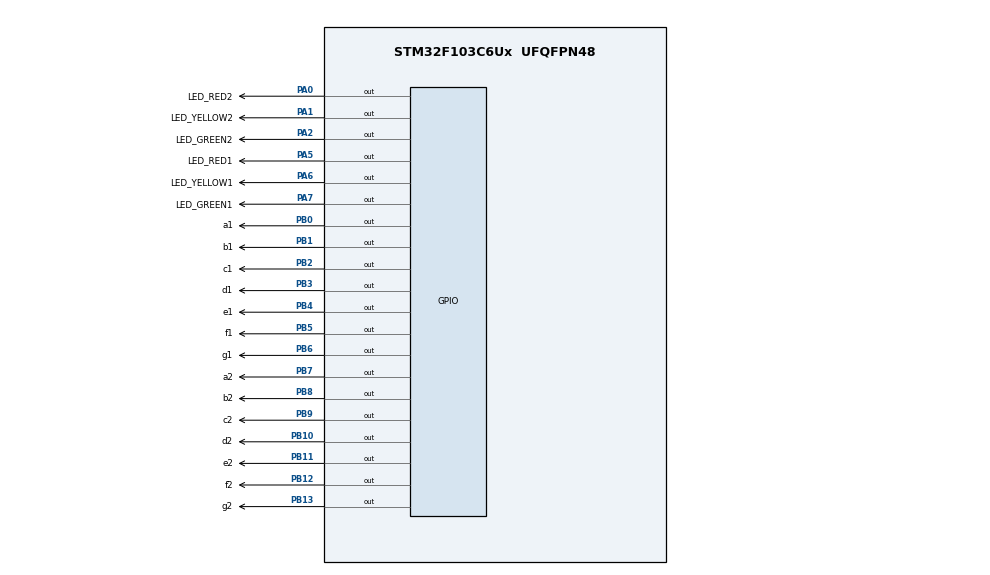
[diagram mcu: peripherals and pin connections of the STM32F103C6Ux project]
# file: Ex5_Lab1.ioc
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Mcu.Family=STM32F1
Mcu.Name=STM32F103C6Ux
Mcu.Package=UFQFPN48
NVIC.PriorityGroup=NVIC_PRIORITYGROUP_4
PA0-WKUP.GPIO_Label=LED_RED2
PA0-WKUP.Signal=GPIO_Output
PA1.GPIO_Label=LED_YELLOW2
PA1.Signal=GPIO_Output
PA2.GPIO_Label=LED_GREEN2
PA2.Signal=GPIO_Output
PA5.GPIO_Label=LED_RED1
PA5.GPIO_ModeDefaultOutputPP=GPIO_MODE_OUTPUT_PP
PA5.GPIO_PuPd=GPIO_PULLUP
PA5.Signal=GPIO_Output
PA6.GPIO_Label=LED_YELLOW1
PA6.GPIO_PuPd=GPIO_PULLUP
PA6.Signal=GPIO_Output
PA7.GPIO_Label=LED_GREEN1
PA7.GPIO_PuPd=GPIO_PULLUP
PA7.Signal=GPIO_Output
PB0.GPIO_Label=a1
PB0.Signal=GPIO_Output
PB1.GPIO_Label=b1
PB1.Signal=GPIO_Output
PB10.GPIO_Label=d2
PB10.Signal=GPIO_Output
PB11.GPIO_Label=e2
PB11.Signal=GPIO_Output
PB12.GPIO_Label=f2
PB12.Signal=GPIO_Output
PB13.GPIO_Label=g2
PB13.Signal=GPIO_Output
PB2.GPIO_Label=c1
PB2.Signal=GPIO_Output
PB3.GPIO_Label=d1
PB3.Signal=GPIO_Output
PB4.GPIO_Label=e1
PB4.Signal=GPIO_Output
PB5.GPIO_Label=f1
PB5.Signal=GPIO_Output
PB6.GPIO_Label=g1
PB6.Signal=GPIO_Output
PB7.GPIO_Label=a2
PB7.Signal=GPIO_Output
PB8.GPIO_Label=b2
PB8.Signal=GPIO_Output
PB9.GPIO_Label=c2
PB9.Signal=GPIO_Output
ProjectManager.HeapSize=0x200
ProjectManager.StackSize=0x400
ProjectManager.TargetToolchain=STM32CubeIDE
RCC.APB1Freq_Value=8000000
RCC.APB2Freq_Value=8000000
board=custom

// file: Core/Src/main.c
/* USER CODE BEGIN Header */
/**
  ******************************************************************************
  * @file           : main.c
  * @brief          : Main program body
  ******************************************************************************
  * @attention
  *
  * Copyright (c) 2022 STMicroelectronics.
  * All rights reserved.
  *
  * This software is licensed under terms that can be found in the LICENSE file
  * in the root directory of this software component.
  * If no LICENSE file comes with this software, it is provided AS-IS.
  *
  ******************************************************************************
  */
/* USER CODE END Header */
#include "main.h"

void SystemClock_Config(void);
static void MX_GPIO_Init(void);
/* USER CODE BEGIN PFP */
void display7SEG(GPIO_TypeDef**GPIO_Port,uint16_t*GPIO_Pin,int num){
	if(num==0){
		HAL_GPIO_WritePin(GPIO_Port[0],GPIO_Pin[0],0);
		HAL_GPIO_WritePin(GPIO_Port[1],GPIO_Pin[1],0);
		HAL_GPIO_WritePin(GPIO_Port[2],GPIO_Pin[2],0);
		HAL_GPIO_WritePin(GPIO_Port[3],GPIO_Pin[3],0);
		HAL_GPIO_WritePin(GPIO_Port[4],GPIO_Pin[4],0);
		HAL_GPIO_WritePin(GPIO_Port[5],GPIO_Pin[5],0);
		HAL_GPIO_WritePin(GPIO_Port[6],GPIO_Pin[6],1);
	}
	if(num==1){
		HAL_GPIO_WritePin(GPIO_Port[0],GPIO_Pin[0],1);
		HAL_GPIO_WritePin(GPIO_Port[1],GPIO_Pin[1],0);
		HAL_GPIO_WritePin(GPIO_Port[2],GPIO_Pin[2],0);
		HAL_GPIO_WritePin(GPIO_Port[3],GPIO_Pin[3],1);
		HAL_GPIO_WritePin(GPIO_Port[4],GPIO_Pin[4],1);
		HAL_GPIO_WritePin(GPIO_Port[5],GPIO_Pin[5],1);
		HAL_GPIO_WritePin(GPIO_Port[6],GPIO_Pin[6],1);
	}
	if(num==2){
		HAL_GPIO_WritePin(GPIO_Port[0],GPIO_Pin[0],0);
		HAL_GPIO_WritePin(GPIO_Port[1],GPIO_Pin[1],0);
		HAL_GPIO_WritePin(GPIO_Port[2],GPIO_Pin[2],1);
		HAL_GPIO_WritePin(GPIO_Port[3],GPIO_Pin[3],0);
		HAL_GPIO_WritePin(GPIO_Port[4],GPIO_Pin[4],0);
		HAL_GPIO_WritePin(GPIO_Port[5],GPIO_Pin[5],1);
		HAL_GPIO_WritePin(GPIO_Port[6],GPIO_Pin[6],0);
	}
	if(num==3){
		HAL_GPIO_WritePin(GPIO_Port[0],GPIO_Pin[0],0);
		HAL_GPIO_WritePin(GPIO_Port[1],GPIO_Pin[1],0);
		HAL_GPIO_WritePin(GPIO_Port[2],GPIO_Pin[2],0);
		HAL_GPIO_WritePin(GPIO_Port[3],GPIO_Pin[3],0);
		HAL_GPIO_WritePin(GPIO_Port[4],GPIO_Pin[4],1);
		HAL_GPIO_WritePin(GPIO_Port[5],GPIO_Pin[5],1);
		HAL_GPIO_WritePin(GPIO_Port[6],GPIO_Pin[6],0);
	}
	if(num==4){
		HAL_GPIO_WritePin(GPIO_Port[0],GPIO_Pin[0],1);
		HAL_GPIO_WritePin(GPIO_Port[1],GPIO_Pin[1],0);
		HAL_GPIO_WritePin(GPIO_Port[2],GPIO_Pin[2],0);
		HAL_GPIO_WritePin(GPIO_Port[3],GPIO_Pin[3],1);
		HAL_GPIO_WritePin(GPIO_Port[4],GPIO_Pin[4],1);
		HAL_GPIO_WritePin(GPIO_Port[5],GPIO_Pin[5],0);
		HAL_GPIO_WritePin(GPIO_Port[6],GPIO_Pin[6],0);
	}
	if(num==5){
		HAL_GPIO_WritePin(GPIO_Port[0],GPIO_Pin[0],0);
		HAL_GPIO_WritePin(GPIO_Port[1],GPIO_Pin[1],1);
		HAL_GPIO_WritePin(GPIO_Port[2],GPIO_Pin[2],0);
		HAL_GPIO_WritePin(GPIO_Port[3],GPIO_Pin[3],0);
		HAL_GPIO_WritePin(GPIO_Port[4],GPIO_Pin[4],1);
		HAL_GPIO_WritePin(GPIO_Port[5],GPIO_Pin[5],0);
		HAL_GPIO_WritePin(GPIO_Port[6],GPIO_Pin[6],0);
	}
	if(num==6){
		HAL_GPIO_WritePin(GPIO_Port[0],GPIO_Pin[0],0);
		HAL_GPIO_WritePin(GPIO_Port[1],GPIO_Pin[1],1);
		HAL_GPIO_WritePin(GPIO_Port[2],GPIO_Pin[2],0);
		HAL_GPIO_WritePin(GPIO_Port[3],GPIO_Pin[3],0);
		HAL_GPIO_WritePin(GPIO_Port[4],GPIO_Pin[4],0);
		HAL_GPIO_WritePin(GPIO_Port[5],GPIO_Pin[5],0);
		HAL_GPIO_WritePin(GPIO_Port[6],GPIO_Pin[6],0);
	}
	if(num==7){
		HAL_GPIO_WritePin(GPIO_Port[0],GPIO_Pin[0],0);
		HAL_GPIO_WritePin(GPIO_Port[1],GPIO_Pin[1],0);
		HAL_GPIO_WritePin(GPIO_Port[2],GPIO_Pin[2],0);
		HAL_GPIO_WritePin(GPIO_Port[3],GPIO_Pin[3],1);
		HAL_GPIO_WritePin(GPIO_Port[4],GPIO_Pin[4],1);
		HAL_GPIO_WritePin(GPIO_Port[5],GPIO_Pin[5],1);
		HAL_GPIO_WritePin(GPIO_Port[6],GPIO_Pin[6],1);
	}
	if(num==8){
		HAL_GPIO_WritePin(GPIO_Port[0],GPIO_Pin[0],0);
		HAL_GPIO_WritePin(GPIO_Port[1],GPIO_Pin[1],0);
		HAL_GPIO_WritePin(GPIO_Port[2],GPIO_Pin[2],0);
		HAL_GPIO_WritePin(GPIO_Port[3],GPIO_Pin[3],0);
		HAL_GPIO_WritePin(GPIO_Port[4],GPIO_Pin[4],0);
		HAL_GPIO_WritePin(GPIO_Port[5],GPIO_Pin[5],0);
		HAL_GPIO_WritePin(GPIO_Port[6],GPIO_Pin[6],0);
	}
	if(num==9){
		HAL_GPIO_WritePin(GPIO_Port[0],GPIO_Pin[0],0);
		HAL_GPIO_WritePin(GPIO_Port[1],GPIO_Pin[1],0);
		HAL_GPIO_WritePin(GPIO_Port[2],GPIO_Pin[2],0);
		HAL_GPIO_WritePin(GPIO_Port[3],GPIO_Pin[3],0);
		HAL_GPIO_WritePin(GPIO_Port[4],GPIO_Pin[4],1);
		HAL_GPIO_WritePin(GPIO_Port[5],GPIO_Pin[5],0);
		HAL_GPIO_WritePin(GPIO_Port[6],GPIO_Pin[6],0);
	}
}

void display_way(GPIO_TypeDef**GPIO_Port_Led, uint16_t*GPIO_Pin_Led,
		GPIO_TypeDef**GPIO_Port_LED7SEG, uint16_t*GPIO_Pin_LED7SEG,
		int*cnt_led_max,int*cnt_led, int*state, int max_state, int active, int inactive ){
	if(*state==0){
		HAL_GPIO_WritePin(GPIO_Port_Led[max_state], GPIO_Pin_Led[max_state], inactive);
		HAL_GPIO_WritePin(GPIO_Port_Led[*state], GPIO_Pin_Led[*state], active);
	}else{
		HAL_GPIO_WritePin(GPIO_Port_Led[(*state)-1], GPIO_Pin_Led[(*state)-1], inactive);
		HAL_GPIO_WritePin(GPIO_Port_Led[*state], GPIO_Pin_Led[*state], active);
	}
	display7SEG(GPIO_Port_LED7SEG, GPIO_Pin_LED7SEG, cnt_led[*state]);
	cnt_led[*state]--;
	if(cnt_led[*state]<=0){
		cnt_led[*state]=cnt_led_max[*state];
		if((*state)==max_state){
			*state=0;
		}else{
			(*state)++;
		}
	}
}
/* USER CODE END PFP */

int main(void)
{

  /* MCU Configuration--------------------------------------------------------*/

  /* Reset of all peripherals, Initializes the Flash interface and the Systick. */
  HAL_Init();

  /* Configure the system clock */
  SystemClock_Config();

  /* Initialize all configured peripherals */
  MX_GPIO_Init();
  /* USER CODE BEGIN 2 */
  	int cnt_red_max=5;  //state 0
	int cnt_yellow_max=2;  //state 1
	int cnt_green_max=3; //state 2
	int cnt_led_max[]={cnt_red_max,cnt_yellow_max,cnt_green_max};

	/* WAY1 PORT PACKAGE */
	int cnt_red1=cnt_red_max;
	int cnt_yellow1=cnt_yellow_max;
	int cnt_green1=cnt_green_max;
	int cnt_led1[]={cnt_red1, cnt_yellow1, cnt_green1};
	int cur_state1=0;

	GPIO_TypeDef*GPIO_Port_Led_Way1[]={LED_RED1_GPIO_Port, LED_YELLOW1_GPIO_Port,
			LED_GREEN1_GPIO_Port};
	uint16_t GPIO_Pin_Led_Way1[]={LED_RED1_Pin, LED_YELLOW1_Pin, LED_GREEN1_Pin};

	GPIO_TypeDef*GPIO_Port_LED7SEG1[]={a1_GPIO_Port, b1_GPIO_Port, c1_GPIO_Port, d1_GPIO_Port,
			  e1_GPIO_Port, f1_GPIO_Port, g1_GPIO_Port};
	uint16_t GPIO_Pin_LED7SEG1[]={a1_Pin, b1_Pin, c1_Pin, d1_Pin, e1_Pin, f1_Pin, g1_Pin};
	/* END WAY1 PROT PACKAGE */

	/* WAY2 PORT PACKAGE */
	int cnt_red2=cnt_red_max;
	int cnt_yellow2=cnt_yellow_max;
	int cnt_green2=cnt_green_max;
	int cnt_led2[]={cnt_red2, cnt_yellow2, cnt_green2};
	int cur_state2=1;

	GPIO_TypeDef*GPIO_Port_Led_Way2[]={LED_RED2_GPIO_Port, LED_YELLOW2_GPIO_Port,
				LED_GREEN2_GPIO_Port};
	uint16_t GPIO_Pin_Led_Way2[]={LED_RED2_Pin, LED_YELLOW2_Pin, LED_GREEN2_Pin};

	GPIO_TypeDef*GPIO_Port_LED7SEG2[]={a2_GPIO_Port,b2_GPIO_Port,c2_GPIO_Port,d2_GPIO_Port,
			  e2_GPIO_Port, f2_GPIO_Port,g2_GPIO_Port};
	uint16_t GPIO_Pin_LED7SEG2[]={a2_Pin, b2_Pin, c2_Pin, d2_Pin, e2_Pin, f2_Pin, g2_Pin};
	/* END WAY2 PROT PACKAGE */

	for(int i=0;i<3;i++){
		HAL_GPIO_WritePin(GPIO_Port_Led_Way1[i], GPIO_Pin_Led_Way1[i], 0);
		HAL_GPIO_WritePin(GPIO_Port_Led_Way2[i], GPIO_Pin_Led_Way2[i], 0);
	}

  /* USER CODE END 2 */

  /* Infinite loop */
  /* USER CODE BEGIN WHILE */
  while (1)
  {
	  /* WAY1 START */
	  display_way(GPIO_Port_Led_Way1, GPIO_Pin_Led_Way1,
			  GPIO_Port_LED7SEG1, GPIO_Pin_LED7SEG1,
			  cnt_led_max, cnt_led1,&cur_state1 ,2,1,0);
	  display_way(GPIO_Port_Led_Way2, GPIO_Pin_Led_Way2,
	  			  GPIO_Port_LED7SEG2, GPIO_Pin_LED7SEG2,
				  cnt_led_max, cnt_led2,&cur_state2 ,2,1,0);
	  /* WAY1 END */

	  /* WAY2 START */

	  /* WAY2 END */
	  HAL_Delay(1000);
    /* USER CODE END WHILE */

  }
}

void SystemClock_Config(void)
{
  RCC_OscInitTypeDef RCC_OscInitStruct = {0};
  RCC_ClkInitTypeDef RCC_ClkInitStruct = {0};

  /** Initializes the RCC Oscillators according to the specified parameters
  * in the RCC_OscInitTypeDef structure.
  */
  RCC_OscInitStruct.OscillatorType = RCC_OSCILLATORTYPE_HSI;
  RCC_OscInitStruct.HSIState = RCC_HSI_ON;
  RCC_OscInitStruct.HSICalibrationValue = RCC_HSICALIBRATION_DEFAULT;
  RCC_OscInitStruct.PLL.PLLState = RCC_PLL_NONE;
  if (HAL_RCC_OscConfig(&RCC_OscInitStruct) != HAL_OK)
  {
    Error_Handler();
  }

  /** Initializes the CPU, AHB and APB buses clocks
  */
  RCC_ClkInitStruct.ClockType = RCC_CLOCKTYPE_HCLK|RCC_CLOCKTYPE_SYSCLK
                              |RCC_CLOCKTYPE_PCLK1|RCC_CLOCKTYPE_PCLK2;
  RCC_ClkInitStruct.SYSCLKSource = RCC_SYSCLKSOURCE_HSI;
  RCC_ClkInitStruct.AHBCLKDivider = RCC_SYSCLK_DIV1;
  RCC_ClkInitStruct.APB1CLKDivider = RCC_HCLK_DIV1;
  RCC_ClkInitStruct.APB2CLKDivider = RCC_HCLK_DIV1;

  if (HAL_RCC_ClockConfig(&RCC_ClkInitStruct, FLASH_LATENCY_0) != HAL_OK)
  {
    Error_Handler();
  }
}

static void MX_GPIO_Init(void)
{
  GPIO_InitTypeDef GPIO_InitStruct = {0};

  /* GPIO Ports Clock Enable */
  __HAL_RCC_GPIOA_CLK_ENABLE();
  __HAL_RCC_GPIOB_CLK_ENABLE();

  /*Configure GPIO pin Output Level */
  HAL_GPIO_WritePin(GPIOA, LED_RED2_Pin|LED_YELLOW2_Pin|LED_GREEN2_Pin|LED_RED1_Pin
                          |LED_YELLOW1_Pin|LED_GREEN1_Pin, GPIO_PIN_RESET);

  /*Configure GPIO pin Output Level */
  HAL_GPIO_WritePin(GPIOB, a1_Pin|b1_Pin|c1_Pin|d2_Pin
                          |e2_Pin|f2_Pin|g2_Pin|d1_Pin
                          |e1_Pin|f1_Pin|g1_Pin|a2_Pin
                          |b2_Pin|c2_Pin, GPIO_PIN_RESET);

  /*Configure GPIO pins : LED_RED2_Pin LED_YELLOW2_Pin LED_GREEN2_Pin */
  GPIO_InitStruct.Pin = LED_RED2_Pin|LED_YELLOW2_Pin|LED_GREEN2_Pin;
  GPIO_InitStruct.Mode = GPIO_MODE_OUTPUT_PP;
  GPIO_InitStruct.Pull = GPIO_NOPULL;
  GPIO_InitStruct.Speed = GPIO_SPEED_FREQ_LOW;
  HAL_GPIO_Init(GPIOA, &GPIO_InitStruct);

  /*Configure GPIO pins : LED_RED1_Pin LED_YELLOW1_Pin LED_GREEN1_Pin */
  GPIO_InitStruct.Pin = LED_RED1_Pin|LED_YELLOW1_Pin|LED_GREEN1_Pin;
  GPIO_InitStruct.Mode = GPIO_MODE_OUTPUT_PP;
  GPIO_InitStruct.Pull = GPIO_PULLUP;
  GPIO_InitStruct.Speed = GPIO_SPEED_FREQ_LOW;
  HAL_GPIO_Init(GPIOA, &GPIO_InitStruct);

  /*Configure GPIO pins : a1_Pin b1_Pin c1_Pin d2_Pin
                           e2_Pin f2_Pin g2_Pin d1_Pin
                           e1_Pin f1_Pin g1_Pin a2_Pin
                           b2_Pin c2_Pin */
  GPIO_InitStruct.Pin = a1_Pin|b1_Pin|c1_Pin|d2_Pin
                          |e2_Pin|f2_Pin|g2_Pin|d1_Pin
                          |e1_Pin|f1_Pin|g1_Pin|a2_Pin
                          |b2_Pin|c2_Pin;
  GPIO_InitStruct.Mode = GPIO_MODE_OUTPUT_PP;
  GPIO_InitStruct.Pull = GPIO_NOPULL;
  GPIO_InitStruct.Speed = GPIO_SPEED_FREQ_LOW;
  HAL_GPIO_Init(GPIOB, &GPIO_InitStruct);

}

void Error_Handler(void)
{
  __disable_irq();
  while (1)
  {
  }
}
